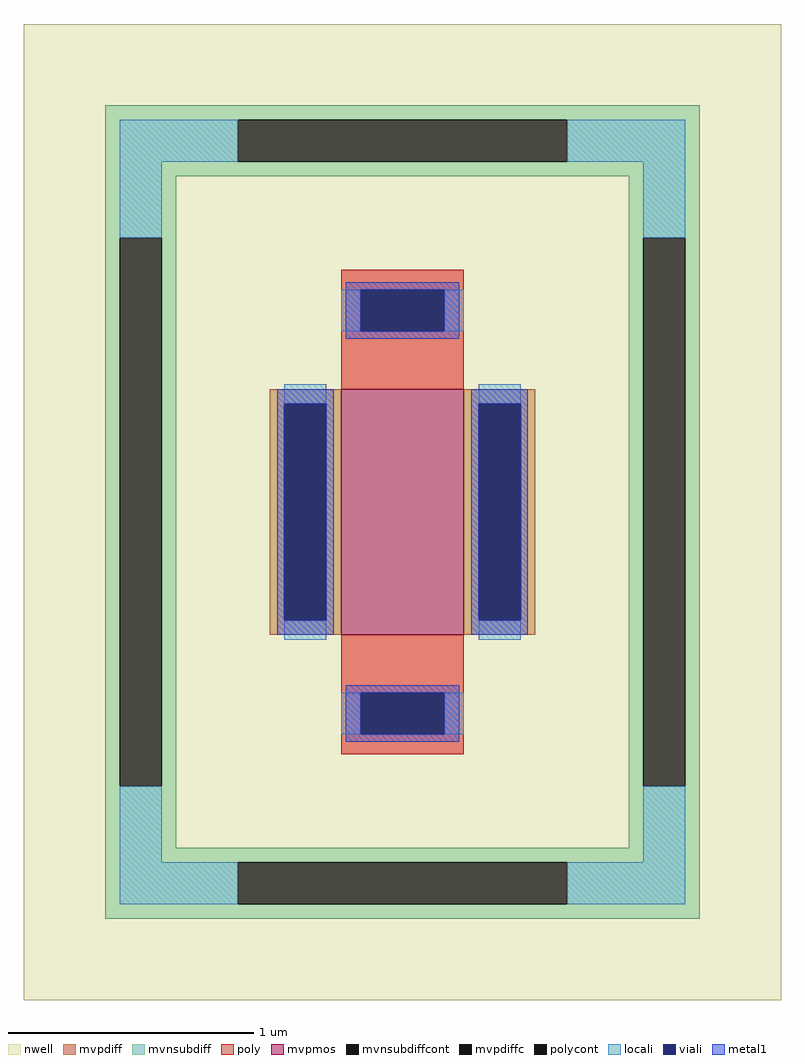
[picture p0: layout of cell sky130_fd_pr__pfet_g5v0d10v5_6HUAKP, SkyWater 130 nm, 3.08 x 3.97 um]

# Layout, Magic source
magic
tech sky130A
magscale 1 2
<< nwell >>
rect -308 -397 308 397
<< mvpmos >>
rect -50 -100 50 100
<< mvpdiff >>
rect -108 88 -50 100
rect -108 -88 -96 88
rect -62 -88 -50 88
rect -108 -100 -50 -88
rect 50 88 108 100
rect 50 -88 62 88
rect 96 -88 108 88
rect 50 -100 108 -88
<< mvpdiffc >>
rect -96 -88 -62 88
rect 62 -88 96 88
<< mvnsubdiff >>
rect -242 319 242 331
rect -242 285 -134 319
rect 134 285 242 319
rect -242 273 242 285
rect -242 223 -184 273
rect -242 -223 -230 223
rect -196 -223 -184 223
rect 184 223 242 273
rect -242 -273 -184 -223
rect 184 -223 196 223
rect 230 -223 242 223
rect 184 -273 242 -223
rect -242 -285 242 -273
rect -242 -319 -134 -285
rect 134 -319 242 -285
rect -242 -331 242 -319
<< mvnsubdiffcont >>
rect -134 285 134 319
rect -230 -223 -196 223
rect 196 -223 230 223
rect -134 -319 134 -285
<< poly >>
rect -50 181 50 197
rect -50 147 -34 181
rect 34 147 50 181
rect -50 100 50 147
rect -50 -147 50 -100
rect -50 -181 -34 -147
rect 34 -181 50 -147
rect -50 -197 50 -181
<< polycont >>
rect -34 147 34 181
rect -34 -181 34 -147
<< locali >>
rect -230 285 -134 319
rect 134 285 230 319
rect -230 223 -196 285
rect 196 223 230 285
rect -50 147 -34 181
rect 34 147 50 181
rect -96 88 -62 104
rect -96 -104 -62 -88
rect 62 88 96 104
rect 62 -104 96 -88
rect -50 -181 -34 -147
rect 34 -181 50 -147
rect -230 -285 -196 -223
rect 196 -285 230 -223
rect -230 -319 -134 -285
rect 134 -319 230 -285
<< viali >>
rect -34 147 34 181
rect -96 -88 -62 88
rect 62 -88 96 88
rect -34 -181 34 -147
<< metal1 >>
rect -46 181 46 187
rect -46 147 -34 181
rect 34 147 46 181
rect -46 141 46 147
rect -102 88 -56 100
rect -102 -88 -96 88
rect -62 -88 -56 88
rect -102 -100 -56 -88
rect 56 88 102 100
rect 56 -88 62 88
rect 96 -88 102 88
rect 56 -100 102 -88
rect -46 -147 46 -141
rect -46 -181 -34 -147
rect 34 -181 46 -147
rect -46 -187 46 -181
<< properties >>
string FIXED_BBOX -213 -302 213 302
string gencell sky130_fd_pr__pfet_g5v0d10v5
string library sky130
string parameters w 1.0 l 0.5 m 1 nf 1 diffcov 100 polycov 100 guard 1 glc 1 grc 1 gtc 1 gbc 1 tbcov 100 rlcov 100 topc 1 botc 1 poverlap 0 doverlap 1 lmin 0.50 wmin 0.42 class mosfet compatible {sky130_fd_pr__pfet_01v8  sky130_fd_pr__pfet_01v8_lvt sky130_fd_pr__pfet_01v8_hvt  sky130_fd_pr__pfet_g5v0d10v5} full_metal 1 viasrc 100 viadrn 100 viagate 100 viagb 0 viagr 0 viagl 0 viagt 0
<< end >>
